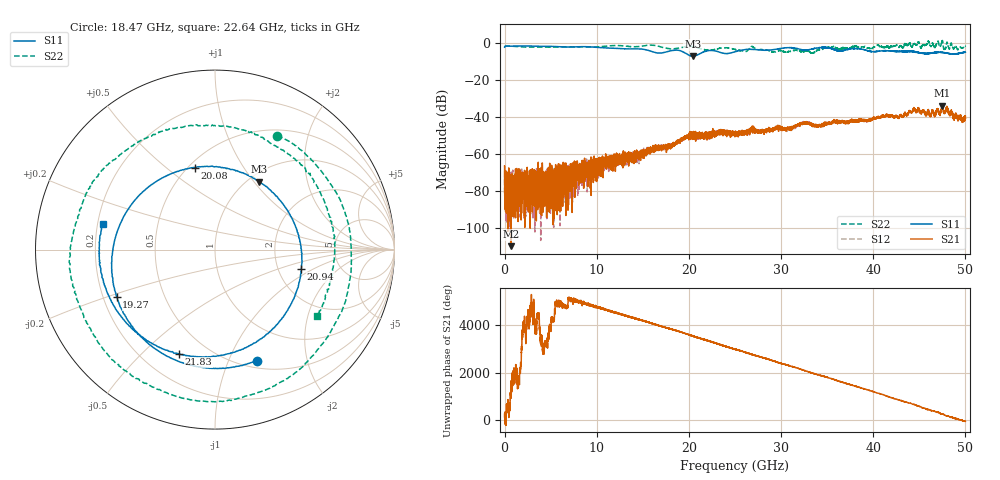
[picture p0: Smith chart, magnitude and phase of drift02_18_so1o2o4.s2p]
!Created with skrf (http://scikit-rf.org).
# Hz S RI R 50.0
!freq ReS11 ImS11 ReS21 ImS21 ReS12 ImS12 ReS22 ImS22
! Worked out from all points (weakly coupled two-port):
!   10001 points, 300 kHz to 50 GHz, reference 50 ohm
!   highest |S21| = -33.62 dB at 47.51 GHz (marker M1); lowest = -109.7 dB at 665.3 MHz (marker M2)
!   lowest |S11| = -6.9 dB at 20.41 GHz (marker M3), VSWR 2.64, Z = 55.7 + j52.9 ohm
!   |S11| at or under -10 dB: nowhere
!   |S22| runs from -5.4 to 1.6 dB; largest |S21 - S12| = 0.0032
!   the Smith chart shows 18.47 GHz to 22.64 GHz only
!   S11 on the Smith chart (normalised r, x): 18.47 GHz: 0.58, -1.27; 19.27 GHz: 0.26, -0.21; 20.08 GHz: 0.54, +0.63; 20.94 GHz: 2.69, -0.77; 21.83 GHz: 0.35, -0.65; 22.64 GHz: 0.22, +0.11
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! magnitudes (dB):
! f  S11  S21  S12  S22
! 300 kHz  -2.0  -66.2  -69.2  -1.3
! 260.3 MHz  -1.4  -72.2  -76.7  -1.4
! 665.3 MHz  -1.5  -109.7  -76.2  -1.4
! 3.345 GHz  -1.5  -72.8  -79.9  -1.9
! 3.87 GHz  -1.5  -71.1  -77.2  -2.0
! 4.36 GHz  -1.6  -79.3  -70.9  -2.0
! 5.46 GHz  -1.6  -84.0  -77.4  -2.0
! 8.335 GHz  -1.7  -72.3  -73.4  -1.9
! 16.67 GHz  -5.2  -57.0  -56.6  -1.4
! 18.47 GHz  -3.6  -54.7  -53.7  -2.8
! 19.27 GHz  -4.3  -51.7  -51.7  -2.1
! 20.08 GHz  -6.5  -48.3  -50.6  -1.5
! 20.41 GHz  -6.9  -50.2  -49.6  -1.7
! 20.94 GHz  -6.2  -50.6  -48.9  -2.2
! 21.83 GHz  -4.2  -48.6  -48.9  -3.5
! 22.64 GHz  -3.9  -48.6  -48.3  -3.4
! 25 GHz  -4.5  -49.4  -49.2  -3.2
! 33.34 GHz  -3.0  -44.2  -44.0  -5.2
! 34.91 GHz  -2.4  -42.9  -43.6  -2.1
! 41.67 GHz  -4.0  -39.3  -39.2  -2.1
! 47.51 GHz  -4.8  -33.6  -33.4  1.6
! 50 GHz  -4.7  -40.3  -40.6  -1.4
